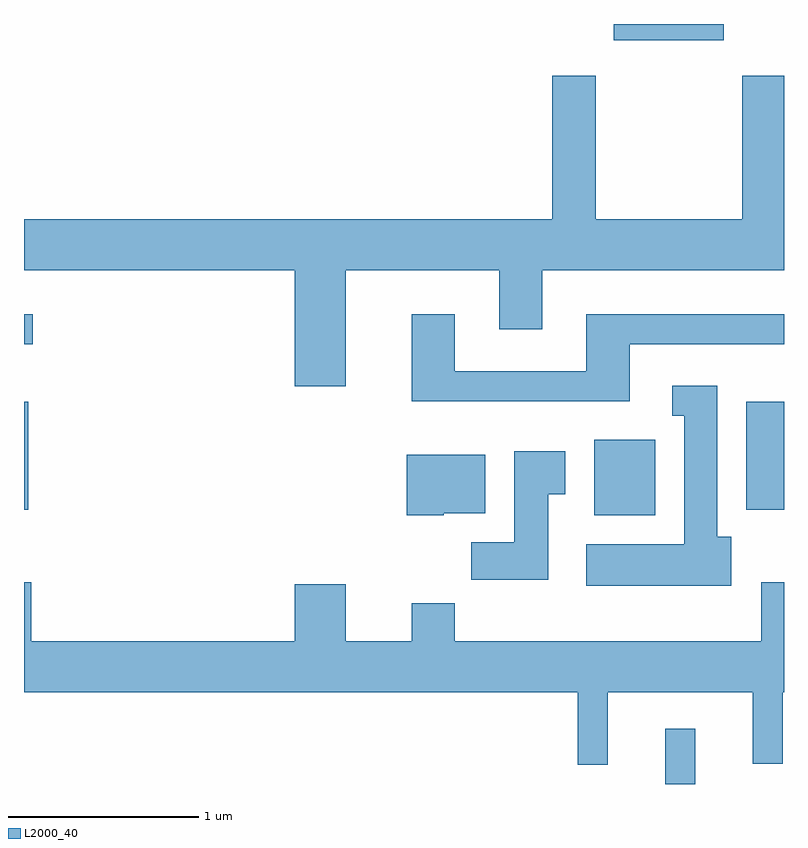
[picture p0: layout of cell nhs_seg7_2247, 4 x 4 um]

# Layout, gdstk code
import gdstk
lib = gdstk.Library(unit=1e-6, precision=1e-09)
def R(c, l, rs):  # rectangles x0, y0, x1, y1
    for r in rs: c.add(gdstk.rectangle(r[:2], r[2:], *l))
def P(c, l, *ps):  # polygons
    for p in ps: c.add(gdstk.Polygon(p, *l))
L2000_40 = (2000, 40)

nhs_seg7_2247 = lib.new_cell('nhs_seg7_2247')
R(nhs_seg7_2247, L2000_40, [(256.986,1738.252,257.144,1738.543), (256.611,1739.666,256.934,1740.064), (253.611,1739.696,253.634,1740.264), (257.411,1739.696,257.611,1740.264), (253.611,1740.566,253.658,1740.724), (256.716,1742.166,257.294,1742.252)])
P(nhs_seg7_2247, L2000_40, [(255.304,1740.956),(256.111,1740.956),(256.111,1740.646),(256.339,1740.646),(256.339,1740.956),(257.611,1740.956),(257.611,1741.979),(257.391,1741.979),(257.391,1741.224),(256.619,1741.224),(256.619,1741.979),(256.391,1741.979),(256.391,1741.224),(253.611,1741.224),(253.611,1740.956),(255.036,1740.956),(255.036,1740.346),(255.304,1740.346)],
  [(256.799,1740.566),(257.611,1740.566),(257.611,1740.724),(256.571,1740.724),(256.571,1740.424),(255.879,1740.424),(255.879,1740.724),(255.651,1740.724),(255.651,1740.266),(256.799,1740.266)],
  [(257.334,1739.554),(257.259,1739.554),(257.259,1740.349),(257.022,1740.349),(257.022,1740.191),(257.086,1740.191),(257.086,1739.514),(256.571,1739.514),(256.571,1739.296),(257.334,1739.296)],
  [(256.369,1739.776),(256.459,1739.776),(256.459,1740.004),(256.191,1740.004),(256.191,1739.524),(255.966,1739.524),(255.966,1739.326),(256.369,1739.326)],
  [(255.82,1739.676),(256.039,1739.676),(256.039,1739.984),(255.626,1739.984),(255.626,1739.666),(255.82,1739.666)],
  [(256.684,1738.736),(257.446,1738.736),(257.446,1738.358),(257.604,1738.358),(257.604,1738.736),(257.611,1738.736),(257.611,1739.314),(257.491,1739.314),(257.491,1739.004),(255.879,1739.004),(255.879,1739.204),(255.651,1739.204),(255.651,1739.004),(255.304,1739.004),(255.304,1739.304),(255.036,1739.304),(255.036,1739.004),(253.649,1739.004),(253.649,1739.314),(253.611,1739.314),(253.611,1738.736),(256.526,1738.736),(256.526,1738.353),(256.684,1738.353)])

lib.write_gds('nhs_seg7_2247.gds')
